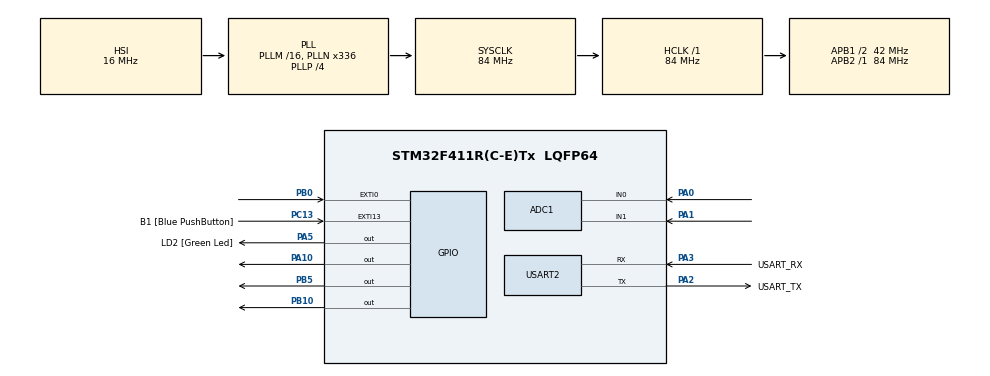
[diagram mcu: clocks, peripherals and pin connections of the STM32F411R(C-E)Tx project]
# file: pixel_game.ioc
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ADC1.Channel-0\#ChannelRegularConversion=ADC_CHANNEL_0
ADC1.Channel-1\#ChannelRegularConversion=ADC_CHANNEL_1
ADC1.ContinuousConvMode=ENABLE
ADC1.DMAContinuousRequests=ENABLE
ADC1.NbrOfConversion=2
ADC1.NbrOfConversionFlag=1
ADC1.Rank-0\#ChannelRegularConversion=1
ADC1.Rank-1\#ChannelRegularConversion=2
ADC1.SamplingTime-0\#ChannelRegularConversion=ADC_SAMPLETIME_56CYCLES
ADC1.SamplingTime-1\#ChannelRegularConversion=ADC_SAMPLETIME_56CYCLES
ADC1.ScanConvMode=ENABLE
ADC1.master=1
Dma.ADC1.0.Direction=DMA_PERIPH_TO_MEMORY
Dma.ADC1.0.FIFOMode=DMA_FIFOMODE_DISABLE
Dma.ADC1.0.Instance=DMA2_Stream0
Dma.ADC1.0.MemDataAlignment=DMA_MDATAALIGN_HALFWORD
Dma.ADC1.0.MemInc=DMA_MINC_ENABLE
Dma.ADC1.0.Mode=DMA_CIRCULAR
Dma.ADC1.0.PeriphDataAlignment=DMA_PDATAALIGN_HALFWORD
Dma.ADC1.0.PeriphInc=DMA_PINC_DISABLE
Dma.ADC1.0.Priority=DMA_PRIORITY_LOW
Dma.Request0=ADC1
Mcu.Family=STM32F4
Mcu.Name=STM32F411R(C-E)Tx
Mcu.Package=LQFP64
NVIC.ADC_IRQn=true\:0\:0\:false\:false\:true\:true\:true\:true
NVIC.DMA2_Stream0_IRQn=true\:0\:0\:false\:false\:true\:false\:true\:true
NVIC.EXTI0_IRQn=true\:0\:0\:false\:false\:true\:true\:true\:true
NVIC.PriorityGroup=NVIC_PRIORITYGROUP_0
PA0-WKUP.Signal=ADCx_IN0
PA1.Signal=ADCx_IN1
PA10.Signal=GPIO_Output
PA13.GPIO_Label=TMS
PA13.Mode=Serial_Wire
PA13.Signal=SYS_JTMS-SWDIO
PA14.GPIO_Label=TCK
PA14.Mode=Serial_Wire
PA14.Signal=SYS_JTCK-SWCLK
PA2.GPIO_Label=USART_TX
PA2.Mode=Asynchronous
PA2.Signal=USART2_TX
PA3.GPIO_Label=USART_RX
PA3.Mode=Asynchronous
PA3.Signal=USART2_RX
PA5.GPIO_Label=LD2 [Green Led]
PA5.Signal=GPIO_Output
PB0.Signal=GPXTI0
PB10.Signal=GPIO_Output
PB3.GPIO_Label=SWO
PB3.Signal=SYS_JTDO-SWO
PB5.Signal=GPIO_Output
PC13-ANTI_TAMP.GPIO_Label=B1 [Blue PushButton]
PC13-ANTI_TAMP.GPIO_ModeDefaultEXTI=GPIO_MODE_IT_FALLING
PC13-ANTI_TAMP.Signal=GPXTI13
PC14-OSC32_IN.Mode=LSE-External-Oscillator
PC14-OSC32_IN.Signal=RCC_OSC32_IN
PC15-OSC32_OUT.Mode=LSE-External-Oscillator
PC15-OSC32_OUT.Signal=RCC_OSC32_OUT
PH0\ -\ OSC_IN.Mode=HSE-External-Clock-Source
PH0\ -\ OSC_IN.Signal=RCC_OSC_IN
PH1\ -\ OSC_OUT.Mode=HSE-External-Clock-Source
PH1\ -\ OSC_OUT.Signal=RCC_OSC_OUT
ProjectManager.HeapSize=0x200
ProjectManager.StackSize=0x400
ProjectManager.TargetToolchain=STM32CubeIDE
RCC.48MHZClocksFreq_Value=84000000
RCC.AHBFreq_Value=84000000
RCC.APB1CLKDivider=RCC_HCLK_DIV2
RCC.APB1Freq_Value=42000000
RCC.APB1TimFreq_Value=84000000
RCC.APB2Freq_Value=84000000
RCC.APB2TimFreq_Value=84000000
RCC.CortexFreq_Value=84000000
RCC.FLatency-AdvancedSettings=FLASH_LATENCY_2
RCC.HCLKFreq_Value=84000000
RCC.HSE_VALUE=8000000
RCC.HSI_VALUE=16000000
RCC.PLLN=336
RCC.PLLP=RCC_PLLP_DIV4
RCC.SYSCLKFreq_VALUE=84000000
RCC.SYSCLKSource=RCC_SYSCLKSOURCE_PLLCLK
RCC.VCOOutputFreq_Value=336000000
SH.ADCx_IN0.0=ADC1_IN0,IN0
SH.ADCx_IN1.0=ADC1_IN1,IN1
USART2.VirtualMode=VM_ASYNC
board=NUCLEO-F411RE

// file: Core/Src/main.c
/* USER CODE BEGIN Header */
/**
  ******************************************************************************
  * @file           : main.c
  * @brief          : Main program body
  ******************************************************************************
  * @attention
  *
  * Copyright (c) 2025 STMicroelectronics.
  * All rights reserved.
  *
  * This software is licensed under terms that can be found in the LICENSE file
  * in the root directory of this software component.
  * If no LICENSE file comes with this software, it is provided AS-IS.
  *
  ******************************************************************************
  */
/* USER CODE END Header */
#include "main.h"

ADC_HandleTypeDef hadc1;
DMA_HandleTypeDef hdma_adc1;

UART_HandleTypeDef huart2;

void SystemClock_Config(void);
static void MX_GPIO_Init(void);
static void MX_DMA_Init(void);
static void MX_ADC1_Init(void);
static void MX_USART2_UART_Init(void);

/* USER CODE BEGIN 0 */

void HAL_GPIO_EXTI_Callback(uint16_t GPIO_Pin){
	if(GPIO_Pin == GPIO_PIN_0){
		joy_sw = 1;
	}
}

void HAL_ADC_ConvHalfCpltCallback(ADC_HandleTypeDef *hadc){
	joy_x = (uint16_t)(joy_in&0xffff);
	joy_y = (uint16_t)(joy_in >> 16);

	joy_x = joy_x /4;
	joy_y = joy_y /4;
}
/* USER CODE END 0 */

int main(void)
{

  /* USER CODE BEGIN 1 */
	for(int i = 0; i<8; i++){
		default_pattern[i] = 0b00000000;
		pattern[i] = 0b00000000;
	}
  /* USER CODE END 1 */

  /* MCU Configuration--------------------------------------------------------*/

  /* Reset of all peripherals, Initializes the Flash interface and the Systick. */
  HAL_Init();

  /* Configure the system clock */
  SystemClock_Config();

  /* Initialize all configured peripherals */
  MX_GPIO_Init();
  MX_DMA_Init();
  MX_ADC1_Init();
  MX_USART2_UART_Init();
  /* USER CODE BEGIN 2 */
  HAL_ADC_Start_DMA(&hadc1, &joy_in, 2);
  pattern_modify(pattern, 0, 0, 1);
  pattern_modify(pattern, 5, 3, 1);

  /* USER CODE END 2 */

  /* Infinite loop */
  /* USER CODE BEGIN WHILE */
  while (1)
  {
	  init_hardware();
	  init_game();

	  while (!game_state.game_over) {
//	          simulate_input(); // 실제로는 handle_input() 사용
	          update_game();
	          render_display();
	          display_heart(pattern);
	          //simple_delay(50); // 50ms 딜레이
	      }
	  game_over_display();
	  display_heart(pattern);
    /* USER CODE END WHILE */

  }
}

void SystemClock_Config(void)
{
  RCC_OscInitTypeDef RCC_OscInitStruct = {0};
  RCC_ClkInitTypeDef RCC_ClkInitStruct = {0};

  /** Configure the main internal regulator output voltage
  */
  __HAL_RCC_PWR_CLK_ENABLE();
  __HAL_PWR_VOLTAGESCALING_CONFIG(PWR_REGULATOR_VOLTAGE_SCALE1);

  /** Initializes the RCC Oscillators according to the specified parameters
  * in the RCC_OscInitTypeDef structure.
  */
  RCC_OscInitStruct.OscillatorType = RCC_OSCILLATORTYPE_HSI;
  RCC_OscInitStruct.HSIState = RCC_HSI_ON;
  RCC_OscInitStruct.HSICalibrationValue = RCC_HSICALIBRATION_DEFAULT;
  RCC_OscInitStruct.PLL.PLLState = RCC_PLL_ON;
  RCC_OscInitStruct.PLL.PLLSource = RCC_PLLSOURCE_HSI;
  RCC_OscInitStruct.PLL.PLLM = 16;
  RCC_OscInitStruct.PLL.PLLN = 336;
  RCC_OscInitStruct.PLL.PLLP = RCC_PLLP_DIV4;
  RCC_OscInitStruct.PLL.PLLQ = 4;
  if (HAL_RCC_OscConfig(&RCC_OscInitStruct) != HAL_OK)
  {
    Error_Handler();
  }

  /** Initializes the CPU, AHB and APB buses clocks
  */
  RCC_ClkInitStruct.ClockType = RCC_CLOCKTYPE_HCLK|RCC_CLOCKTYPE_SYSCLK
                              |RCC_CLOCKTYPE_PCLK1|RCC_CLOCKTYPE_PCLK2;
  RCC_ClkInitStruct.SYSCLKSource = RCC_SYSCLKSOURCE_PLLCLK;
  RCC_ClkInitStruct.AHBCLKDivider = RCC_SYSCLK_DIV1;
  RCC_ClkInitStruct.APB1CLKDivider = RCC_HCLK_DIV2;
  RCC_ClkInitStruct.APB2CLKDivider = RCC_HCLK_DIV1;

  if (HAL_RCC_ClockConfig(&RCC_ClkInitStruct, FLASH_LATENCY_2) != HAL_OK)
  {
    Error_Handler();
  }
}

static void MX_ADC1_Init(void)
{

  ADC_ChannelConfTypeDef sConfig = {0};

  /** Configure the global features of the ADC (Clock, Resolution, Data Alignment and number of conversion)
  */
  hadc1.Instance = ADC1;
  hadc1.Init.ClockPrescaler = ADC_CLOCK_SYNC_PCLK_DIV4;
  hadc1.Init.Resolution = ADC_RESOLUTION_12B;
  hadc1.Init.ScanConvMode = ENABLE;
  hadc1.Init.ContinuousConvMode = ENABLE;
  hadc1.Init.DiscontinuousConvMode = DISABLE;
  hadc1.Init.ExternalTrigConvEdge = ADC_EXTERNALTRIGCONVEDGE_NONE;
  hadc1.Init.ExternalTrigConv = ADC_SOFTWARE_START;
  hadc1.Init.DataAlign = ADC_DATAALIGN_RIGHT;
  hadc1.Init.NbrOfConversion = 2;
  hadc1.Init.DMAContinuousRequests = ENABLE;
  hadc1.Init.EOCSelection = ADC_EOC_SINGLE_CONV;
  if (HAL_ADC_Init(&hadc1) != HAL_OK)
  {
    Error_Handler();
  }

  /** Configure for the selected ADC regular channel its corresponding rank in the sequencer and its sample time.
  */
  sConfig.Channel = ADC_CHANNEL_0;
  sConfig.Rank = 1;
  sConfig.SamplingTime = ADC_SAMPLETIME_56CYCLES;
  if (HAL_ADC_ConfigChannel(&hadc1, &sConfig) != HAL_OK)
  {
    Error_Handler();
  }

  /** Configure for the selected ADC regular channel its corresponding rank in the sequencer and its sample time.
  */
  sConfig.Channel = ADC_CHANNEL_1;
  sConfig.Rank = 2;
  if (HAL_ADC_ConfigChannel(&hadc1, &sConfig) != HAL_OK)
  {
    Error_Handler();
  }

}

static void MX_USART2_UART_Init(void)
{

  huart2.Instance = USART2;
  huart2.Init.BaudRate = 115200;
  huart2.Init.WordLength = UART_WORDLENGTH_8B;
  huart2.Init.StopBits = UART_STOPBITS_1;
  huart2.Init.Parity = UART_PARITY_NONE;
  huart2.Init.Mode = UART_MODE_TX_RX;
  huart2.Init.HwFlowCtl = UART_HWCONTROL_NONE;
  huart2.Init.OverSampling = UART_OVERSAMPLING_16;
  if (HAL_UART_Init(&huart2) != HAL_OK)
  {
    Error_Handler();
  }

}

static void MX_DMA_Init(void)
{

  /* DMA controller clock enable */
  __HAL_RCC_DMA2_CLK_ENABLE();

  /* DMA interrupt init */
  /* DMA2_Stream0_IRQn interrupt configuration */
  HAL_NVIC_SetPriority(DMA2_Stream0_IRQn, 0, 0);
  HAL_NVIC_EnableIRQ(DMA2_Stream0_IRQn);

}

static void MX_GPIO_Init(void)
{
  GPIO_InitTypeDef GPIO_InitStruct = {0};

  /* GPIO Ports Clock Enable */
  __HAL_RCC_GPIOC_CLK_ENABLE();
  __HAL_RCC_GPIOH_CLK_ENABLE();
  __HAL_RCC_GPIOA_CLK_ENABLE();
  __HAL_RCC_GPIOB_CLK_ENABLE();

  /*Configure GPIO pin Output Level */
  HAL_GPIO_WritePin(GPIOA, LD2_Pin|GPIO_PIN_10, GPIO_PIN_RESET);

  /*Configure GPIO pin Output Level */
  HAL_GPIO_WritePin(GPIOB, GPIO_PIN_10|GPIO_PIN_5, GPIO_PIN_RESET);

  /*Configure GPIO pin : B1_Pin */
  GPIO_InitStruct.Pin = B1_Pin;
  GPIO_InitStruct.Mode = GPIO_MODE_IT_FALLING;
  GPIO_InitStruct.Pull = GPIO_NOPULL;
  HAL_GPIO_Init(B1_GPIO_Port, &GPIO_InitStruct);

  /*Configure GPIO pins : LD2_Pin PA10 */
  GPIO_InitStruct.Pin = LD2_Pin|GPIO_PIN_10;
  GPIO_InitStruct.Mode = GPIO_MODE_OUTPUT_PP;
  GPIO_InitStruct.Pull = GPIO_NOPULL;
  GPIO_InitStruct.Speed = GPIO_SPEED_FREQ_LOW;
  HAL_GPIO_Init(GPIOA, &GPIO_InitStruct);

  /*Configure GPIO pin : PB0 */
  GPIO_InitStruct.Pin = GPIO_PIN_0;
  GPIO_InitStruct.Mode = GPIO_MODE_IT_RISING;
  GPIO_InitStruct.Pull = GPIO_NOPULL;
  HAL_GPIO_Init(GPIOB, &GPIO_InitStruct);

  /*Configure GPIO pins : PB10 PB5 */
  GPIO_InitStruct.Pin = GPIO_PIN_10|GPIO_PIN_5;
  GPIO_InitStruct.Mode = GPIO_MODE_OUTPUT_PP;
  GPIO_InitStruct.Pull = GPIO_NOPULL;
  GPIO_InitStruct.Speed = GPIO_SPEED_FREQ_LOW;
  HAL_GPIO_Init(GPIOB, &GPIO_InitStruct);

  /* EXTI interrupt init*/
  HAL_NVIC_SetPriority(EXTI0_IRQn, 0, 0);
  HAL_NVIC_EnableIRQ(EXTI0_IRQn);

}

void Error_Handler(void)
{
  __disable_irq();
  while (1)
  {
  }
}
